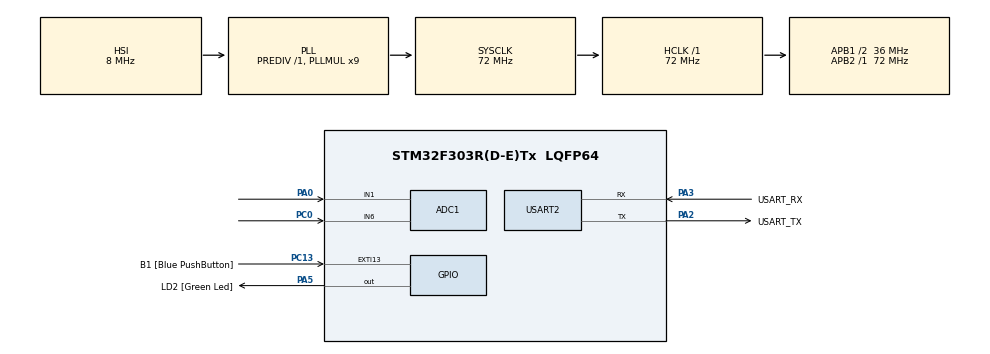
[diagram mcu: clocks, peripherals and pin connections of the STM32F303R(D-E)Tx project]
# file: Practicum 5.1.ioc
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ADC1.Channel-0\#ChannelRegularConversion=ADC_CHANNEL_1
ADC1.Channel-3\#ChannelRegularConversion=ADC_CHANNEL_TEMPSENSOR
ADC1.Channel-4\#ChannelRegularConversion=ADC_CHANNEL_VREFINT
ADC1.EnableAnalogWatchDog1=false
ADC1.NbrOfConversion=3
ADC1.NbrOfConversionFlag=1
ADC1.Offset-0\#ChannelRegularConversion=0
ADC1.Offset-3\#ChannelRegularConversion=0
ADC1.Offset-4\#ChannelRegularConversion=0
ADC1.OffsetNumber-0\#ChannelRegularConversion=ADC_OFFSET_NONE
ADC1.OffsetNumber-3\#ChannelRegularConversion=ADC_OFFSET_NONE
ADC1.OffsetNumber-4\#ChannelRegularConversion=ADC_OFFSET_NONE
ADC1.Rank-0\#ChannelRegularConversion=1
ADC1.Rank-3\#ChannelRegularConversion=2
ADC1.Rank-4\#ChannelRegularConversion=3
ADC1.SamplingTime-0\#ChannelRegularConversion=ADC_SAMPLETIME_19CYCLES_5
ADC1.SamplingTime-3\#ChannelRegularConversion=ADC_SAMPLETIME_19CYCLES_5
ADC1.SamplingTime-4\#ChannelRegularConversion=ADC_SAMPLETIME_19CYCLES_5
ADC1.master=1
Mcu.Family=STM32F3
Mcu.Name=STM32F303R(D-E)Tx
Mcu.Package=LQFP64
NVIC.PriorityGroup=NVIC_PRIORITYGROUP_0
PA0.Mode=IN1-Single-Ended
PA0.Signal=ADC1_IN1
PA13.GPIO_Label=TMS
PA13.Mode=Serial_Wire
PA13.Signal=SYS_JTMS-SWDIO
PA14.GPIO_Label=TCK
PA14.Mode=Serial_Wire
PA14.Signal=SYS_JTCK-SWCLK
PA2.GPIO_Label=USART_TX
PA2.GPIO_Mode=GPIO_MODE_AF_PP
PA2.GPIO_PuPd=GPIO_NOPULL
PA2.GPIO_Speed=GPIO_SPEED_FREQ_LOW
PA2.Mode=Asynchronous
PA2.Signal=USART2_TX
PA3.GPIO_Label=USART_RX
PA3.GPIO_Mode=GPIO_MODE_AF_PP
PA3.GPIO_PuPd=GPIO_NOPULL
PA3.GPIO_Speed=GPIO_SPEED_FREQ_LOW
PA3.Mode=Asynchronous
PA3.Signal=USART2_RX
PA5.GPIO_Label=LD2 [Green Led]
PA5.GPIO_Mode=GPIO_MODE_OUTPUT_PP
PA5.GPIO_PuPd=GPIO_NOPULL
PA5.GPIO_Speed=GPIO_SPEED_FREQ_LOW
PA5.Signal=GPIO_Output
PB3.GPIO_Label=SWO
PB3.Signal=SYS_JTDO-TRACESWO
PC0.Signal=ADCx_IN6
PC13.GPIO_Label=B1 [Blue PushButton]
PC13.GPIO_ModeDefaultEXTI=GPIO_MODE_IT_FALLING
PC13.Signal=GPXTI13
PC14-OSC32_IN.Mode=LSE-External-Oscillator
PC14-OSC32_IN.Signal=RCC_OSC32_IN
PC15-OSC32_OUT.Mode=LSE-External-Oscillator
PC15-OSC32_OUT.Signal=RCC_OSC32_OUT
PF0-OSC_IN.Mode=HSE-External-Clock-Source
PF0-OSC_IN.Signal=RCC_OSC_IN
PF1-OSC_OUT.Signal=RCC_OSC_OUT
ProjectManager.HeapSize=0x200
ProjectManager.StackSize=0x400
ProjectManager.TargetToolchain=STM32CubeIDE
RCC.AHBFreq_Value=72000000
RCC.APB1CLKDivider=RCC_HCLK_DIV2
RCC.APB1Freq_Value=36000000
RCC.APB1TimFreq_Value=72000000
RCC.APB2Freq_Value=72000000
RCC.APB2TimFreq_Value=72000000
RCC.CortexFreq_Value=72000000
RCC.HCLKFreq_Value=72000000
RCC.HSE_VALUE=8000000
RCC.HSI_VALUE=8000000
RCC.PLLM=8
RCC.PLLMUL=RCC_PLL_MUL9
RCC.PLLN=336
RCC.PLLP=RCC_PLLP_DIV4
RCC.PLLQ=7
RCC.RCC_PLLsource_Clock_Source_FROM_HSE=RCC_HSE_PREDIV_DIV2
RCC.SYSCLKFreq_VALUE=72000000
RCC.SYSCLKSourceVirtual=RCC_SYSCLKSOURCE_PLLCLK
RCC.USBFreq_Value=72000000
SH.ADCx_IN6.0=ADC1_IN6,IN6-Single-Ended
USART2.VirtualMode-Asynchronous=VM_ASYNC
VP_ADC1_TempSens_Input.Mode=IN-TempSens
VP_ADC1_Vref_Input.Mode=IN-Vrefint
board=NUCLEO-F303RE

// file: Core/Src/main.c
/* USER CODE BEGIN Header */
/**
  ******************************************************************************
  * @file           : main.c
  * @brief          : Main program body
  ******************************************************************************
  * @attention
  *
  * Copyright (c) 2026 STMicroelectronics.
  * All rights reserved.
  *
  * This software is licensed under terms that can be found in the LICENSE file
  * in the root directory of this software component.
  * If no LICENSE file comes with this software, it is provided AS-IS.
  *
  ******************************************************************************
  */
/* USER CODE END Header */
#include "main.h"

ADC_HandleTypeDef hadc1;

UART_HandleTypeDef huart2;

void SystemClock_Config(void);
static void MX_GPIO_Init(void);
static void MX_ADC1_Init(void);
static void MX_USART2_UART_Init(void);

int main(void)
{

  /* MCU Configuration--------------------------------------------------------*/

  /* Reset of all peripherals, Initializes the Flash interface and the Systick. */
  HAL_Init();

  /* Configure the system clock */
  SystemClock_Config();

  /* Initialize all configured peripherals */
  MX_GPIO_Init();
  MX_ADC1_Init();
  MX_USART2_UART_Init();
  /* USER CODE BEGIN 2 */
  char test[] = "UART werkt!\r\n";
  HAL_UART_Transmit(&huart2, (uint8_t*)test, sizeof(test)-1, HAL_MAX_DELAY);
  /* USER CODE END 2 */

  /* Infinite loop */
  /* USER CODE BEGIN WHILE */
  uint32_t potValue, tempValue, vrefValue;
  char buffer[80];
  int len;

  while (1)
  {
    /* USER CODE END WHILE */

    /* USER CODE BEGIN 3 */
	  HAL_ADC_Start(&hadc1); /* Start de AD conversie */
	  HAL_ADC_PollForConversion(&hadc1, HAL_MAX_DELAY); /* Wacht tot de AD conversie is gedaan, met max wachttijd */
	  potValue = HAL_ADC_GetValue(&hadc1); /* Haal de digitale waarde op */

	  HAL_ADC_PollForConversion(&hadc1, HAL_MAX_DELAY);
	  tempValue = HAL_ADC_GetValue(&hadc1);

	  HAL_ADC_PollForConversion(&hadc1, HAL_MAX_DELAY);
	  vrefValue = HAL_ADC_GetValue(&hadc1);

	  HAL_ADC_Stop(&hadc1); /* Stop de AD conversie */

	  len = snprintf(buffer, sizeof(buffer), "Pot=%lu TempRAW=%lu VrefRAW=%lu\r\n", potValue, tempValue, vrefValue); /*printen via UART */
	  HAL_UART_Transmit(&huart2, (uint8_t*)buffer, len, HAL_MAX_DELAY);

	  HAL_Delay(1000);
  }
  /* USER CODE END 3 */
}

void SystemClock_Config(void)
{
  RCC_OscInitTypeDef RCC_OscInitStruct = {0};
  RCC_ClkInitTypeDef RCC_ClkInitStruct = {0};
  RCC_PeriphCLKInitTypeDef PeriphClkInit = {0};

  /** Initializes the RCC Oscillators according to the specified parameters
  * in the RCC_OscInitTypeDef structure.
  */
  RCC_OscInitStruct.OscillatorType = RCC_OSCILLATORTYPE_HSI;
  RCC_OscInitStruct.HSIState = RCC_HSI_ON;
  RCC_OscInitStruct.HSICalibrationValue = RCC_HSICALIBRATION_DEFAULT;
  RCC_OscInitStruct.PLL.PLLState = RCC_PLL_ON;
  RCC_OscInitStruct.PLL.PLLSource = RCC_PLLSOURCE_HSI;
  RCC_OscInitStruct.PLL.PLLMUL = RCC_PLL_MUL9;
  RCC_OscInitStruct.PLL.PREDIV = RCC_PREDIV_DIV1;
  if (HAL_RCC_OscConfig(&RCC_OscInitStruct) != HAL_OK)
  {
    Error_Handler();
  }

  /** Initializes the CPU, AHB and APB buses clocks
  */
  RCC_ClkInitStruct.ClockType = RCC_CLOCKTYPE_HCLK|RCC_CLOCKTYPE_SYSCLK
                              |RCC_CLOCKTYPE_PCLK1|RCC_CLOCKTYPE_PCLK2;
  RCC_ClkInitStruct.SYSCLKSource = RCC_SYSCLKSOURCE_PLLCLK;
  RCC_ClkInitStruct.AHBCLKDivider = RCC_SYSCLK_DIV1;
  RCC_ClkInitStruct.APB1CLKDivider = RCC_HCLK_DIV2;
  RCC_ClkInitStruct.APB2CLKDivider = RCC_HCLK_DIV1;

  if (HAL_RCC_ClockConfig(&RCC_ClkInitStruct, FLASH_LATENCY_2) != HAL_OK)
  {
    Error_Handler();
  }
  PeriphClkInit.PeriphClockSelection = RCC_PERIPHCLK_USART2|RCC_PERIPHCLK_ADC12;
  PeriphClkInit.Usart2ClockSelection = RCC_USART2CLKSOURCE_PCLK1;
  PeriphClkInit.Adc12ClockSelection = RCC_ADC12PLLCLK_DIV1;
  if (HAL_RCCEx_PeriphCLKConfig(&PeriphClkInit) != HAL_OK)
  {
    Error_Handler();
  }
}

static void MX_ADC1_Init(void)
{
    ADC_MultiModeTypeDef multimode = {0};
    ADC_ChannelConfTypeDef sConfig = {0};

    hadc1.Instance = ADC1;
    hadc1.Init.ClockPrescaler = ADC_CLOCK_ASYNC_DIV1;
    hadc1.Init.Resolution = ADC_RESOLUTION_12B;
    hadc1.Init.ScanConvMode = ADC_SCAN_ENABLE;
    hadc1.Init.ContinuousConvMode = DISABLE;
    hadc1.Init.DiscontinuousConvMode = DISABLE;
    hadc1.Init.ExternalTrigConvEdge = ADC_EXTERNALTRIGCONVEDGE_NONE;
    hadc1.Init.ExternalTrigConv = ADC_SOFTWARE_START;
    hadc1.Init.DataAlign = ADC_DATAALIGN_RIGHT;
    hadc1.Init.NbrOfConversion = 3;
    hadc1.Init.DMAContinuousRequests = DISABLE;
    hadc1.Init.EOCSelection = ADC_EOC_SINGLE_CONV;

    if (HAL_ADC_Init(&hadc1) != HAL_OK)
    {
        Error_Handler();
    }

    // ✅ Verplicht voor interne sensoren op F3!
    if (HAL_ADCEx_Calibration_Start(&hadc1, ADC_SINGLE_ENDED) != HAL_OK)
    {
        Error_Handler();
    }

    multimode.Mode = ADC_MODE_INDEPENDENT;
    HAL_ADCEx_MultiModeConfigChannel(&hadc1, &multimode);

    // ✅ RANK 1 (Potmeter PA0)
    sConfig.Channel = ADC_CHANNEL_1;
    sConfig.Rank = ADC_REGULAR_RANK_1;
    sConfig.SingleDiff = ADC_SINGLE_ENDED;
    sConfig.SamplingTime = ADC_SAMPLETIME_19CYCLES_5;
    HAL_ADC_ConfigChannel(&hadc1, &sConfig);

    // ✅ RANK 2 (Temperatuursensor)
    sConfig.Channel = ADC_CHANNEL_TEMPSENSOR;
    sConfig.Rank = ADC_REGULAR_RANK_2;
    sConfig.SamplingTime = ADC_SAMPLETIME_19CYCLES_5;
    HAL_ADC_ConfigChannel(&hadc1, &sConfig);

    // ✅ RANK 3 (VrefInt)
    sConfig.Channel = ADC_CHANNEL_VREFINT;
    sConfig.Rank = ADC_REGULAR_RANK_3;
    sConfig.SamplingTime = ADC_SAMPLETIME_19CYCLES_5;
    HAL_ADC_ConfigChannel(&hadc1, &sConfig);
}
static void MX_USART2_UART_Init(void)
{

  huart2.Instance = USART2;
  huart2.Init.BaudRate = 38400;
  huart2.Init.WordLength = UART_WORDLENGTH_8B;
  huart2.Init.StopBits = UART_STOPBITS_1;
  huart2.Init.Parity = UART_PARITY_NONE;
  huart2.Init.Mode = UART_MODE_TX_RX;
  huart2.Init.HwFlowCtl = UART_HWCONTROL_NONE;
  huart2.Init.OverSampling = UART_OVERSAMPLING_16;
  huart2.Init.OneBitSampling = UART_ONE_BIT_SAMPLE_DISABLE;
  huart2.AdvancedInit.AdvFeatureInit = UART_ADVFEATURE_NO_INIT;
  if (HAL_UART_Init(&huart2) != HAL_OK)
  {
    Error_Handler();
  }

}

static void MX_GPIO_Init(void)
{
  GPIO_InitTypeDef GPIO_InitStruct = {0};

  /* GPIO Ports Clock Enable */
  __HAL_RCC_GPIOC_CLK_ENABLE();
  __HAL_RCC_GPIOF_CLK_ENABLE();
  __HAL_RCC_GPIOA_CLK_ENABLE();
  __HAL_RCC_GPIOB_CLK_ENABLE();

  /*Configure GPIO pin Output Level */
  HAL_GPIO_WritePin(LD2_GPIO_Port, LD2_Pin, GPIO_PIN_RESET);

  /*Configure GPIO pin : B1_Pin */
  GPIO_InitStruct.Pin = B1_Pin;
  GPIO_InitStruct.Mode = GPIO_MODE_IT_FALLING;
  GPIO_InitStruct.Pull = GPIO_NOPULL;
  HAL_GPIO_Init(B1_GPIO_Port, &GPIO_InitStruct);

  /*Configure GPIO pin : LD2_Pin */
  GPIO_InitStruct.Pin = LD2_Pin;
  GPIO_InitStruct.Mode = GPIO_MODE_OUTPUT_PP;
  GPIO_InitStruct.Pull = GPIO_NOPULL;
  GPIO_InitStruct.Speed = GPIO_SPEED_FREQ_LOW;
  HAL_GPIO_Init(LD2_GPIO_Port, &GPIO_InitStruct);

}

void Error_Handler(void)
{
  __disable_irq();
  while (1)
  {
  }
}
